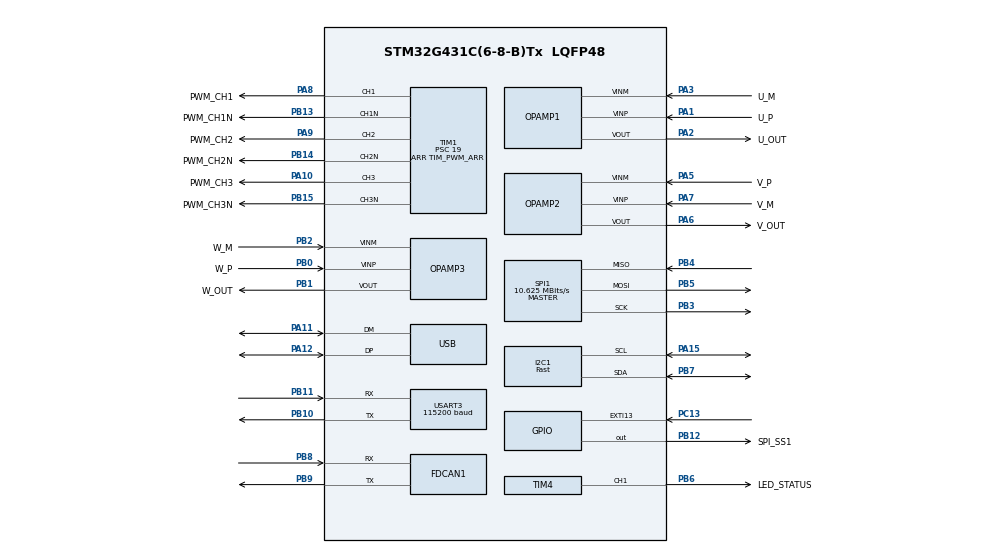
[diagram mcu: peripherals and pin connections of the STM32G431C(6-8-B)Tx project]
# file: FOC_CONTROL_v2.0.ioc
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ADC1.EnableInjectedConversion=ENABLE
ADC1.EnableRegularConversion=DISABLE
ADC1.ExternalTrigInjecConv=ADC_EXTERNALTRIGINJEC_T1_CC4
ADC1.InjNumberOfConversion=2
ADC1.InjectedChannel-2\#ChannelInjectedConversion=ADC_CHANNEL_3
ADC1.InjectedChannel-4\#ChannelInjectedConversion=ADC_CHANNEL_12
ADC1.InjectedOffsetNumber-2\#ChannelInjectedConversion=ADC_OFFSET_NONE
ADC1.InjectedOffsetNumber-4\#ChannelInjectedConversion=ADC_OFFSET_NONE
ADC1.InjectedRank-2\#ChannelInjectedConversion=1
ADC1.InjectedRank-4\#ChannelInjectedConversion=2
ADC1.InjectedSamplingTime-2\#ChannelInjectedConversion=ADC_SAMPLETIME_24CYCLES_5
ADC1.InjectedSamplingTime-4\#ChannelInjectedConversion=ADC_SAMPLETIME_24CYCLES_5
ADC1.Mode=ADC_DUALMODE_INJECSIMULT
ADC1.Rank1_Channel=ADC_CHANNEL_3
ADC1.Rank2_Channel=ADC_CHANNEL_12
ADC1.Rank3_Channel=ADC_CHANNEL_3
ADC1.Rank4_Channel=ADC_CHANNEL_3
ADC1.master=1
ADC2.EnableInjectedConversion=ENABLE
ADC2.EnableInjectedOversampling=DISABLE
ADC2.EnableRegularConversion=DISABLE
ADC2.InjNumberOfConversion=1
ADC2.InjectedChannel-2\#ChannelInjectedConversion=ADC_CHANNEL_3
ADC2.InjectedOffsetNumber-2\#ChannelInjectedConversion=ADC_OFFSET_NONE
ADC2.InjectedRank-2\#ChannelInjectedConversion=1
ADC2.InjectedSamplingTime-2\#ChannelInjectedConversion=ADC_SAMPLETIME_24CYCLES_5
ADC2.Mode=ADC_DUALMODE_INJECSIMULT
ADC2.Rank1_Channel=ADC_CHANNEL_3
FDCAN1.AutoRetransmission=ENABLE
FDCAN1.CalculateBaudRateNominal=999999
FDCAN1.CalculateTimeBitNominal=1000
FDCAN1.CalculateTimeQuantumNominal=58.82352941176471
FDCAN1.DataPrescaler=10
FDCAN1.DataSyncJumpWidth=1
FDCAN1.DataTimeSeg1=1
FDCAN1.DataTimeSeg2=1
FDCAN1.NominalPrescaler=10
FDCAN1.NominalSyncJumpWidth=2
FDCAN1.NominalTimeSeg1=13
FDCAN1.NominalTimeSeg2=3
FDCAN1.StdFiltersNbr=1
I2C1.I2C_Speed_Mode=I2C_Fast
I2C1.Timing=0x40621236
Mcu.Family=STM32G4
Mcu.Name=STM32G431C(6-8-B)Tx
Mcu.Package=LQFP48
Mcu.UserConstants=TIM_PWM_ARR,300;LED_PWM_ARR,102
NVIC.ADC1_2_IRQn=true\:0\:0\:false\:false\:true\:true\:true\:true
NVIC.EXTI15_10_IRQn=true\:0\:0\:false\:false\:true\:true\:true\:true
NVIC.PriorityGroup=NVIC_PRIORITYGROUP_4
NVIC.USB_LP_IRQn=true\:0\:0\:false\:false\:true\:false\:true\:true
PA1.GPIO_Label=U_P
PA1.Mode=Standalone
PA1.Signal=OPAMP1_VINP
PA10.GPIO_Label=PWM_CH3
PA10.GPIO_Speed=GPIO_SPEED_FREQ_VERY_HIGH
PA10.Signal=S_TIM1_CH3
PA11.Mode=Device
PA11.Signal=USB_DM
PA12.Mode=Device
PA12.Signal=USB_DP
PA13.Mode=Serial_Wire
PA13.Signal=SYS_JTMS-SWDIO
PA14.Mode=Serial_Wire
PA14.Signal=SYS_JTCK-SWCLK
PA15.GPIO_Speed=GPIO_SPEED_FREQ_VERY_HIGH
PA15.Mode=I2C
PA15.Signal=I2C1_SCL
PA2.GPIO_Label=U_OUT
PA2.Signal=SharedAnalog_PA2
PA3.GPIO_Label=U_M
PA3.Mode=Standalone
PA3.Signal=OPAMP1_VINM
PA5.GPIO_Label=V_P
PA5.Signal=SharedAnalog_PA5
PA6.GPIO_Label=V_OUT
PA6.Signal=SharedAnalog_PA6
PA7.GPIO_Label=V_M
PA7.Signal=SharedAnalog_PA7
PA8.GPIO_Label=PWM_CH1
PA8.GPIO_Speed=GPIO_SPEED_FREQ_VERY_HIGH
PA8.Signal=S_TIM1_CH1
PA9.GPIO_Label=PWM_CH2
PA9.GPIO_Speed=GPIO_SPEED_FREQ_VERY_HIGH
PA9.Signal=S_TIM1_CH2
PB0.GPIO_Label=W_P
PB0.Signal=SharedAnalog_PB0
PB1.GPIO_Label=W_OUT
PB1.Signal=SharedAnalog_PB1
PB10.GPIO_Speed=GPIO_SPEED_FREQ_VERY_HIGH
PB10.Mode=Asynchronous
PB10.Signal=USART3_TX
PB11.GPIO_Speed=GPIO_SPEED_FREQ_VERY_HIGH
PB11.Mode=Asynchronous
PB11.Signal=USART3_RX
PB12.GPIO_Label=SPI_SS1
PB12.GPIO_PuPd=GPIO_PULLUP
PB12.GPIO_Speed=GPIO_SPEED_FREQ_VERY_HIGH
PB12.PinState=GPIO_PIN_SET
PB12.Signal=GPIO_Output
PB13.GPIO_Label=PWM_CH1N
PB13.GPIO_Speed=GPIO_SPEED_FREQ_VERY_HIGH
PB13.Mode=PWM Generation1 CH1 CH1N
PB13.Signal=TIM1_CH1N
PB14.GPIO_Label=PWM_CH2N
PB14.GPIO_Speed=GPIO_SPEED_FREQ_VERY_HIGH
PB14.Mode=PWM Generation2 CH2 CH2N
PB14.Signal=TIM1_CH2N
PB15.GPIO_Label=PWM_CH3N
PB15.GPIO_Speed=GPIO_SPEED_FREQ_VERY_HIGH
PB15.Mode=PWM Generation3 CH3 CH3N
PB15.Signal=TIM1_CH3N
PB2.GPIO_Label=W_M
PB2.Signal=SharedAnalog_PB2
PB3.Mode=Full_Duplex_Master
PB3.Signal=SPI1_SCK
PB4.Mode=Full_Duplex_Master
PB4.Signal=SPI1_MISO
PB5.Mode=Full_Duplex_Master
PB5.Signal=SPI1_MOSI
PB6.GPIO_FM6=SYSCFG_FASTMODEPLUS_PB6
PB6.GPIO_Label=LED_STATUS
PB6.GPIO_Speed=GPIO_SPEED_FREQ_VERY_HIGH
PB6.Signal=S_TIM4_CH1
PB7.GPIO_FM7=SYSCFG_FASTMODEPLUS_PB7
PB7.GPIO_Speed=GPIO_SPEED_FREQ_VERY_HIGH
PB7.Mode=I2C
PB7.Signal=I2C1_SDA
PB8-BOOT0.Mode=FDCAN_Activate
PB8-BOOT0.Signal=FDCAN1_RX
PB9.Mode=FDCAN_Activate
PB9.Signal=FDCAN1_TX
PC13.Signal=GPXTI13
PF0-OSC_IN.Mode=HSE-External-Oscillator
PF0-OSC_IN.Signal=RCC_OSC_IN
PF1-OSC_OUT.Mode=HSE-External-Oscillator
PF1-OSC_OUT.Signal=RCC_OSC_OUT
ProjectManager.HeapSize=0x200
ProjectManager.StackSize=0x400
ProjectManager.TargetToolchain=MDK-ARM V5.32
RCC.ADC12Freq_Value=170000000
RCC.AHBFreq_Value=170000000
RCC.APB1Freq_Value=170000000
RCC.APB1TimFreq_Value=170000000
RCC.APB2Freq_Value=170000000
RCC.APB2TimFreq_Value=170000000
RCC.CK48CLockSelection=RCC_USBCLKSOURCE_HSI48
RCC.CortexFreq_Value=170000000
RCC.EXTERNAL_CLOCK_VALUE=12288000
RCC.HCLKFreq_Value=170000000
RCC.HSE_VALUE=12000000
RCC.HSI48_VALUE=48000000
RCC.HSI_VALUE=16000000
RCC.LSE_VALUE=32768
RCC.PLLM=RCC_PLLM_DIV3
RCC.PLLN=85
RCC.PLLSourceVirtual=RCC_PLLSOURCE_HSE
RCC.SYSCLKFreq_VALUE=170000000
RCC.SYSCLKSource=RCC_SYSCLKSOURCE_PLLCLK
RCC.USBFreq_Value=48000000
RCC.VCOOutputFreq_Value=340000000
SH.S_TIM1_CH1.0=TIM1_CH1,PWM Generation1 CH1 CH1N
SH.S_TIM1_CH2.0=TIM1_CH2,PWM Generation2 CH2 CH2N
SH.S_TIM1_CH3.0=TIM1_CH3,PWM Generation3 CH3 CH3N
SH.S_TIM4_CH1.0=TIM4_CH1,PWM Generation1 CH1
SH.SharedAnalog_PA2.0=GPIO_Analog
SH.SharedAnalog_PA2.1=OPAMP1_VOUT,Standalone
SH.SharedAnalog_PA2.2=ADC1_IN3,IN3-Single-Ended
SH.SharedAnalog_PA5.0=GPIO_Analog
SH.SharedAnalog_PA5.1=ADC2_IN13
SH.SharedAnalog_PA5.2=OPAMP2_VINM,Standalone
SH.SharedAnalog_PA6.0=GPIO_Analog
SH.SharedAnalog_PA6.1=OPAMP2_VOUT,Standalone
SH.SharedAnalog_PA6.2=ADC2_IN3,IN3-Single-Ended
SH.SharedAnalog_PA7.0=GPIO_Analog
SH.SharedAnalog_PA7.1=ADC2_IN4
SH.SharedAnalog_PA7.2=OPAMP2_VINP,Standalone
SH.SharedAnalog_PB0.0=GPIO_Analog
SH.SharedAnalog_PB0.1=ADC1_IN15
SH.SharedAnalog_PB0.2=OPAMP3_VINP,Standalone
SH.SharedAnalog_PB1.0=GPIO_Analog
SH.SharedAnalog_PB1.1=OPAMP3_VOUT,Standalone
SH.SharedAnalog_PB1.2=ADC1_IN12,IN12-Single-Ended
SH.SharedAnalog_PB2.0=ADC2_IN12
SH.SharedAnalog_PB2.1=OPAMP3_VINM,Standalone
SPI1.BaudRatePrescaler=SPI_BAUDRATEPRESCALER_16
SPI1.CLKPhase=SPI_PHASE_2EDGE
SPI1.CalculateBaudRate=10.625 MBits/s
SPI1.DataSize=SPI_DATASIZE_16BIT
SPI1.Direction=SPI_DIRECTION_2LINES
SPI1.Mode=SPI_MODE_MASTER
SPI1.VirtualType=VM_MASTER
TIM1.AutomaticOutput=TIM_AUTOMATICOUTPUT_ENABLE
TIM1.Channel-PWM\ Generation1\ CH1\ CH1N=TIM_CHANNEL_1
TIM1.Channel-PWM\ Generation2\ CH2\ CH2N=TIM_CHANNEL_2
TIM1.Channel-PWM\ Generation3\ CH3\ CH3N=TIM_CHANNEL_3
TIM1.ClockDivision=TIM_CLOCKDIVISION_DIV2
TIM1.CounterMode=TIM_COUNTERMODE_CENTERALIGNED1
TIM1.DeadTime=50
TIM1.OCMode_PWM-PWM\ Generation1\ CH1\ CH1N=TIM_OCMODE_PWM2
TIM1.OCMode_PWM-PWM\ Generation2\ CH2\ CH2N=TIM_OCMODE_PWM2
TIM1.OCMode_PWM-PWM\ Generation3\ CH3\ CH3N=TIM_OCMODE_PWM2
TIM1.OffStateIDLEMode=TIM_OSSI_ENABLE
TIM1.OffStateRunMode=TIM_OSSR_ENABLE
TIM1.PeriodNoDither=TIM_PWM_ARR
TIM1.Prescaler=19
TIM1.PulseNoDither_1=TIM_PWM_ARR
TIM1.PulseNoDither_2=TIM_PWM_ARR
TIM1.PulseNoDither_3=TIM_PWM_ARR
TIM1.RepetitionCounter=1
TIM4.Channel-PWM\ Generation1\ CH1=TIM_CHANNEL_1
TIM4.OCFastMode_PWM-PWM\ Generation1\ CH1=TIM_OCFAST_ENABLE
TIM4.PeriodNoDither=LED_PWM_ARR
TIM4.Prescaler=2
USART3.BaudRate=115200
USART3.VirtualMode-Asynchronous=VM_ASYNC
USB_DEVICE.CLASS_NAME_FS=CDC
USB_DEVICE.USBD_LPM_ENABLED=0
USB_DEVICE.VirtualMode=Cdc
USB_DEVICE.VirtualModeFS=Cdc_FS
VP_CORDIC_VS_CORDIC.Mode=CORDIC_Activate
VP_FMAC_VS_FMAC.Mode=FMAC_Activate
VP_RCC_VS_USB.Mode=USB_FS
VP_SYS_VS_DBSignals.Mode=DisableDeadBatterySignals
VP_USB_DEVICE_VS_USB_DEVICE_CDC_FS.Mode=CDC_FS
board=custom

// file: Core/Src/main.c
/* USER CODE BEGIN Header */
/**
 ******************************************************************************
 * @file           : main.c
 * @brief          : Main program body
 ******************************************************************************
 * @attention
 *
 * Copyright (c) 2026 STMicroelectronics.
 * All rights reserved.
 *
 * This software is licensed under terms that can be found in the LICENSE file
 * in the root directory of this software component.
 * If no LICENSE file comes with this software, it is provided AS-IS.
 *
 ******************************************************************************
 */
/* USER CODE END Header */
#include "main.h"
#include "adc.h"
#include "cordic.h"
#include "fdcan.h"
#include "fmac.h"
#include "i2c.h"
#include "opamp.h"
#include "spi.h"
#include "tim.h"
#include "usart.h"
#include "usb_device.h"
#include "gpio.h"

/* USER CODE BEGIN Includes */
#include "oled.h"
#include "motor_control.h"
#include "usbd_cdc_if.h"
#include "remote_control.h"
#include "s_curve.h"
#include "can.h"
#include "nonlinear_flux_observer.h"
/* USER CODE END Includes */

/* USER CODE BEGIN PV */
uint32_t debug_it = 0;
float usb_array[23];
/* USER CODE END PV */

void SystemClock_Config(void);

/* USER CODE BEGIN 0 */
uint32_t it_count = 0;
extern NLFO_STRUCT nlfo;
extern volatile uint8_t key_flag;
/* USER CODE END 0 */

#if RUN
int main(void)
{

    /* MCU Configuration--------------------------------------------------------*/

    /* Reset of all peripherals, Initializes the Flash interface and the Systick. */
    HAL_Init();

    /* Configure the system clock */
    SystemClock_Config();

    /* USER CODE BEGIN SysInit */
    LL_APB2_GRP1_EnableClock(LL_APB2_GRP1_PERIPH_SYSCFG);
    /* USER CODE END SysInit */

    /* Initialize all configured peripherals */
    MX_GPIO_Init();
    MX_ADC1_Init();
    MX_ADC2_Init();
    MX_FDCAN1_Init();
    MX_I2C1_Init();
    MX_OPAMP1_Init();
    MX_OPAMP2_Init();
    MX_OPAMP3_Init();
    MX_SPI1_Init();
    MX_TIM1_Init();
    MX_TIM4_Init();
    MX_USART3_UART_Init();
    MX_USB_Device_Init();
    MX_CORDIC_Init();
    MX_FMAC_Init();
    /* USER CODE BEGIN 2 */
    OLED_Init();
    SPEED_LOOP_TIM_Init();
    LL_mDelay(100);
    OLED_Printf(0, 0, "SYSTEM:INIT!");
    LL_SPI_Enable(SPI1);
    LL_OPAMP_Enable(OPAMP1);
    LL_OPAMP_Enable(OPAMP2);
    LL_OPAMP_Enable(OPAMP3);
    LL_mDelay(100);
    OLED_Update();

    OLED_Printf(0, 2, "OPAMP:START!");
    LL_mDelay(10);
    DWT_Init();
    FOC_ADC_Start();
    LL_mDelay(10);
    OLED_Update();

    OLED_Printf(0, 4, "ADC:START!");
    SCurve_Init(&speed_curve,
                0.0f,
                SPEED_LOOP_TS,
                SPEED_ACCEL_MAX,
                SPEED_SHAPE_K);
    speed_curve.command_deadband = 5.0f;
// CAN_UserInit();
// OLED_Printf(0, 6, "CAN:READY!");
#if USE_Sguan_NLFO
#endif
#if USE_NLFO
    NFO_Init(&nfo, BLDC_PHASE_Rs, BLDC_PHASE_L, BLDC_MAG_FLUX_LINK, FOC_CONTROL_Ts, NFO_K_NL);
    NFO_SetPLL(&nfo, NFO_PLL_KP, NFO_PLL_KI);
    NFO_SetSpeedFilter(&nfo, NFO_SPEED_FILTER_ALPHA);
    NFO_SetPLLOmegaLimit(&nfo, NFO_PLL_OMEGA_LIMIT);
    OLED_Printf(0, 6, "NFO:INIT!");
    OLED_Update();
#endif
    LL_mDelay(1000);
    OLED_Clear();
    OLED_Update();
    motor_smo_init();
    OLED_Printf(0, 0, "SMO:INIT!");
    OLED_Update();
    HAL_FDCAN_Start(&hfdcan1);
    OLED_Printf(0, 2, "CAN:READY!");
    OLED_Update();
    LL_mDelay(2000);
    OLED_Clear();
    OLED_Update();

    ((uint32_t *)&(usb_array))[22] = 0X7F800000;
    /* USER CODE END 2 */

    /* Infinite loop */
    /* USER CODE BEGIN WHILE */

    uint16_t last_angle_machanine = 0;
    uint32_t last_tick = 0;

    foc.last_tick = 0;
    uint8_t tx_data[8] = {0x01, 0x02, 0x03, 0x04, 0x05, 0x06, 0x07, 0x08};

    while (1)
    {
        /* USER CODE END WHILE */

        /* USER CODE BEGIN 3 */
        if(key_flag == 1)
        {
            key_flag = 0;
            CAN_SendStdData(0x123, tx_data);
            OLED_Printf(0, 0, "CAN:TX!");
            OLED_Update();
        }
    }
    /* USER CODE END 3 */
}
#endif
#if DEBUG
int main(void)
{

    HAL_Init();

    SystemClock_Config();

    LL_APB2_GRP1_EnableClock(LL_APB2_GRP1_PERIPH_SYSCFG);
    MX_GPIO_Init();
    MX_ADC1_Init();
    MX_ADC2_Init();
    MX_FDCAN1_Init();
    MX_I2C1_Init();
    OLED_Init();
    LL_mDelay(100);
    OLED_Clear();
    OLED_Printf(0, 0, "ready");
    LL_mDelay(1000);
    // MX_OPAMP1_Init();
    // MX_OPAMP2_Init();
    // MX_OPAMP3_Init();

    // LL_SPI_Enable(SPI1);
    // LL_OPAMP_Enable(OPAMP1);
    // LL_OPAMP_Enable(OPAMP2);
    // LL_OPAMP_Enable(OPAMP3);
    volatile uint16_t v_a = 0;
    while (1)
    {
        LL_ADC_INJ_StartConversion(ADC1);

        // 3. 等待注入组转换完成标志位 (JEOS - Injected End of Sequence)
        // 注意：不同系列的 STM32 标志位宏可能略有不同，如 JEOC。
        while (LL_ADC_IsActiveFlag_JEOS(ADC1) == 0)
        {
            // 等待转换结束
        }

        // 4. 清除标志位，为下一次转换做准备
        LL_ADC_ClearFlag_JEOS(ADC1);

        // 5. 读取转换数据
        v_a = LL_ADC_INJ_ReadConversionData12(ADC1, LL_ADC_INJ_RANK_1);
        OLED_Printf(0, 0, "%d", v_a);
    }
}
#endif

void SystemClock_Config(void)
{
    LL_FLASH_SetLatency(LL_FLASH_LATENCY_4);
    while (LL_FLASH_GetLatency() != LL_FLASH_LATENCY_4)
    {
    }
    LL_PWR_EnableRange1BoostMode();
    LL_RCC_HSE_Enable();
    /* Wait till HSE is ready */
    while (LL_RCC_HSE_IsReady() != 1)
    {
    }

    LL_RCC_HSI48_Enable();
    /* Wait till HSI48 is ready */
    while (LL_RCC_HSI48_IsReady() != 1)
    {
    }

    LL_RCC_PLL_ConfigDomain_SYS(LL_RCC_PLLSOURCE_HSE, LL_RCC_PLLM_DIV_3, 85, LL_RCC_PLLR_DIV_2);
    LL_RCC_PLL_EnableDomain_SYS();
    LL_RCC_PLL_Enable();
    /* Wait till PLL is ready */
    while (LL_RCC_PLL_IsReady() != 1)
    {
    }

    LL_RCC_SetSysClkSource(LL_RCC_SYS_CLKSOURCE_PLL);
    LL_RCC_SetAHBPrescaler(LL_RCC_SYSCLK_DIV_1);
    /* Wait till System clock is ready */
    while (LL_RCC_GetSysClkSource() != LL_RCC_SYS_CLKSOURCE_STATUS_PLL)
    {
    }

    /* Insure 1us transition state at intermediate medium speed clock*/
    for (__IO uint32_t i = (170 >> 1); i != 0; i--)
        ;

    /* Set AHB prescaler*/
    LL_RCC_SetAHBPrescaler(LL_RCC_SYSCLK_DIV_1);
    LL_RCC_SetAPB1Prescaler(LL_RCC_APB1_DIV_1);
    LL_RCC_SetAPB2Prescaler(LL_RCC_APB2_DIV_1);
    LL_SetSystemCoreClock(170000000);

    /* Update the time base */
    if (HAL_InitTick(TICK_INT_PRIORITY) != HAL_OK)
    {
        Error_Handler();
    }
    LL_CRS_SetSyncDivider(LL_CRS_SYNC_DIV_1);
    LL_CRS_SetSyncPolarity(LL_CRS_SYNC_POLARITY_RISING);
    LL_CRS_SetSyncSignalSource(LL_CRS_SYNC_SOURCE_USB);
    LL_CRS_SetReloadCounter(__LL_CRS_CALC_CALCULATE_RELOADVALUE(48000000, 1000));
    LL_CRS_SetFreqErrorLimit(34);
    LL_CRS_SetHSI48SmoothTrimming(32);
}

/* USER CODE BEGIN 4 */
void DWT_Init()
{
    CoreDebug->DEMCR |= CoreDebug_DEMCR_TRCENA_Msk;
    DWT->CYCCNT = 0;
    DWT->CTRL |= DWT_CTRL_CYCCNTENA_Msk;
}
/* USER CODE END 4 */

void Error_Handler(void)
{
    __disable_irq();
    while (1)
    {
    }
}
